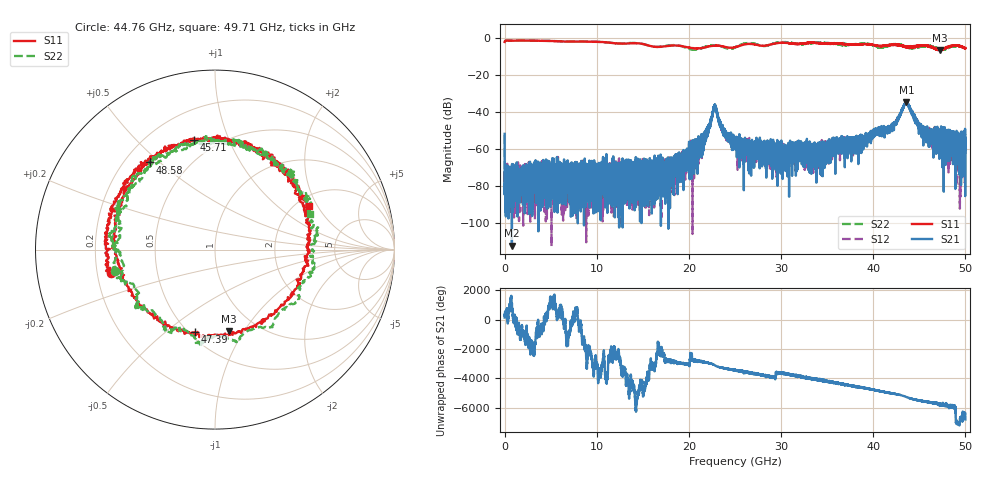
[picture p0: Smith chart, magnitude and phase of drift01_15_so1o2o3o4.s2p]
!Created with skrf (http://scikit-rf.org).
# Hz S RI R 50.0
!freq ReS11 ImS11 ReS21 ImS21 ReS12 ImS12 ReS22 ImS22
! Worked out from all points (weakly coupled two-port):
!   10001 points, 300 kHz to 50 GHz, reference 50 ohm
!   highest |S21| = -34.78 dB at 43.61 GHz (marker M1); lowest = -112.2 dB at 790.3 MHz (marker M2)
!   lowest |S11| = -6.8 dB at 47.21 GHz (marker M3), VSWR 2.70, Z = 37.3 - j42.8 ohm
!   |S11| at or under -10 dB: nowhere
!   |S22| runs from -6.6 to -1.4 dB; largest |S21 - S12| = 0.0038
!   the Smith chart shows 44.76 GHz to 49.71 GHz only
!   S11 on the Smith chart (normalised r, x): 44.76 GHz: 0.26, -0.10; 45.71 GHz: 0.38, +0.75; 47.39 GHz: 0.53, -0.64; 48.58 GHz: 0.30, +0.46; 49.71 GHz: 2.32, +1.70
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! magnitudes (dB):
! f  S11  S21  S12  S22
! 300 kHz  -2.2  -51.8  -52.6  -2.2
! 255.3 MHz  -1.4  -76.9  -80.3  -1.4
! 790.3 MHz  -1.5  -112.2  -81.3  -1.5
! 8.335 GHz  -1.9  -75.4  -71.1  -1.8
! 16.67 GHz  -4.8  -81.4  -69.2  -4.8
! 20.77 GHz  -5.6  -68.2  -56.2  -6.3
! 21.83 GHz  -5.0  -51.9  -54.1  -4.7
! 22.8 GHz  -4.3  -36.5  -36.4  -4.0
! 23.78 GHz  -4.7  -50.1  -50.2  -5.0
! 25 GHz  -5.0  -54.0  -58.7  -5.1
! 29.84 GHz  -2.7  -60.3  -67.7  -2.4
! 31.94 GHz  -3.2  -59.2  -59.8  -3.3
! 33.34 GHz  -2.6  -64.0  -60.4  -2.7
! 41.67 GHz  -3.9  -50.9  -49.5  -4.2
! 43.61 GHz  -4.8  -34.8  -35.3  -4.9
! 44.76 GHz  -4.5  -45.3  -46.2  -4.9
! 45.71 GHz  -4.1  -54.6  -51.4  -4.1
! 47.21 GHz  -6.8  -58.7  -51.5  -5.8
! 47.39 GHz  -6.5  -53.5  -52.8  -5.6
! 48.58 GHz  -4.3  -53.6  -59.5  -4.6
! 49.71 GHz  -4.8  -69.2  -64.2  -5.0
! 50 GHz  -5.4  -59.2  -56.5  -5.3
